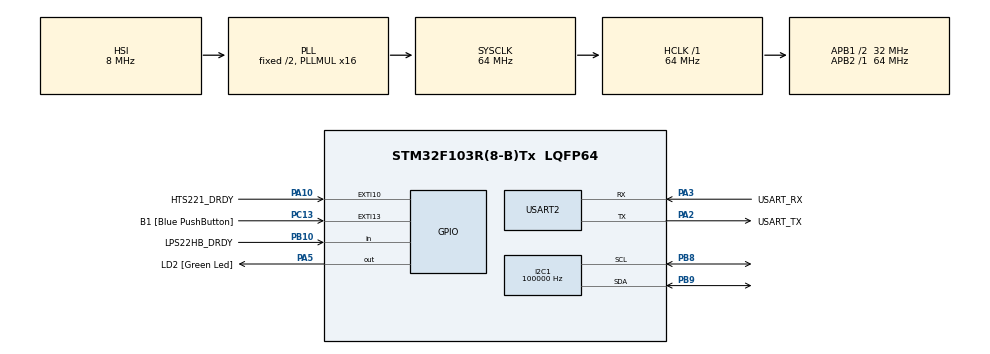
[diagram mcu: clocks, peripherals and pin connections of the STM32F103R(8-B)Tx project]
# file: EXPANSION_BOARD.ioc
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Mcu.Family=STM32F1
PA2.GPIO_PuPd=GPIO_NOPULL
Dma.USART2_TX.0.PeriphDataAlignment=DMA_PDATAALIGN_BYTE
PA10.GPIO_PuPd=GPIO_NOPULL
PA14.GPIO_Label=TCK
PA3.GPIO_PuPd=GPIO_NOPULL
PA2.GPIO_Speed=GPIO_SPEED_FREQ_LOW
VP_RTC_VS_RTC_Activate.Mode=RTC_Enabled
RTC.WeekDay=RTC_WEEKDAY_FRIDAY
PA3.GPIO_Speed=GPIO_SPEED_FREQ_LOW
RCC.SYSCLKSource=RCC_SYSCLKSOURCE_PLLCLK
ProjectManager.StackSize=0x400
PD1-OSC_OUT.Signal=RCC_OSC_OUT
Dma.USART2_TX.0.Priority=DMA_PRIORITY_LOW
I2C1.ClockSpeed=100000
RCC.HCLKFreq_Value=64000000
RCC.APB2TimFreq_Value=64000000
RCC.AHBFreq_Value=64000000
NVIC.EXTI15_10_IRQn=true\:0\:0\:false\:false\:true\:true\:true
RCC.RTCClockSelection=RCC_RTCCLKSOURCE_LSE
RCC.PLLMUL=RCC_PLL_MUL16
RTC.Month=RTC_MONTH_AUGUST
PC14-OSC32_IN.Mode=LSE-External-Oscillator
PA14.Mode=Serial_Wire
PA5.GPIO_PuPd=GPIO_NOPULL
PA10.GPIO_Label=HTS221_DRDY
Dma.USART2_TX.0.MemDataAlignment=DMA_MDATAALIGN_BYTE
Dma.USART2_TX.0.Direction=DMA_MEMORY_TO_PERIPH
Dma.USART2_TX.0.Instance=DMA1_Channel7
Mcu.Package=LQFP64
PB9.Signal=I2C1_SDA
PA10.GPIO_ModeDefaultEXTI=GPIO_MODE_IT_FALLING
USART2.VirtualMode=VM_ASYNC
PC13-TAMPER-RTC.GPIO_PuPd=GPIO_NOPULL
PA2.GPIO_Label=USART_TX
PA10.Signal=GPXTI10
VP_RTC_VS_RTC_Calendar.Mode=RTC_Calendar
Dma.USART2_TX.0.Mode=DMA_NORMAL
RCC.APB1TimFreq_Value=64000000
Dma.Request0=USART2_TX
PA3.Signal=USART2_RX
PA2.GPIO_Mode=GPIO_MODE_AF_PP
PB3.GPIO_Label=SWO
PC15-OSC32_OUT.Mode=LSE-External-Oscillator
PD1-OSC_OUT.Mode=HSE-External-Clock-Source
Dma.USART2_TX.0.MemInc=DMA_MINC_ENABLE
PC13-TAMPER-RTC.Signal=GPXTI13
PD0-OSC_IN.Signal=RCC_OSC_IN
RCC.APB1CLKDivider=RCC_HCLK_DIV2
PC14-OSC32_IN.Signal=RCC_OSC32_IN
NVIC.USART2_IRQn=true\:0\:0\:false\:false\:true\:true\:true
PA13.Signal=SYS_JTMS-SWDIO
PA3.Mode=Asynchronous
ProjectManager.TargetToolchain=STM32CubeIDE
PB10.GPIO_Label=LPS22HB_DRDY
RTC.Year=21
PA3.GPIO_Mode=GPIO_MODE_AF_PP
PB9.Mode=I2C
RTC.Format=RTC_FORMAT_BCD
RCC.USBFreq_Value=64000000
PC15-OSC32_OUT.Signal=RCC_OSC32_OUT
PD0-OSC_IN.Mode=HSE-External-Clock-Source
PB10.Signal=GPIO_Input
PA5.Signal=GPIO_Output
board=NUCLEO-F103RB
PC13-TAMPER-RTC.GPIO_Label=B1 [Blue PushButton]
RCC.APB2Freq_Value=64000000
PA5.GPIO_ModeDefaultOutputPP=GPIO_MODE_OUTPUT_PP
PA13.Mode=Serial_Wire
NVIC.RTC_Alarm_IRQn=true\:0\:0\:false\:false\:true\:true\:true
Mcu.Name=STM32F103R(8-B)Tx
PA13.GPIO_Label=TMS
PA2.Signal=USART2_TX
PB3.Signal=SYS_JTDO-TRACESWO
RCC.SYSCLKFreq_VALUE=64000000
Dma.USART2_TX.0.PeriphInc=DMA_PINC_DISABLE
PA5.GPIO_Label=LD2 [Green Led]
PA14.Signal=SYS_JTCK-SWCLK
ProjectManager.HeapSize=0x200
PA5.GPIO_Speed=GPIO_SPEED_FREQ_LOW
NVIC.PriorityGroup=NVIC_PRIORITYGROUP_4
PB8.Mode=I2C
PA2.Mode=Asynchronous
PB8.Signal=I2C1_SCL
NVIC.DMA1_Channel7_IRQn=true\:0\:0\:false\:false\:true\:false\:true
RCC.APB1Freq_Value=32000000
RTC.Date=27
RTC.OutPut=RTC_OUTPUTSOURCE_ALARM
PA3.GPIO_Label=USART_RX

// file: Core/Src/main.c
/* USER CODE BEGIN Header */
/**
  ******************************************************************************
  * @file           : main.c
  * @brief          : Main program body
  ******************************************************************************
  * @attention
  *
  * <h2><center>&copy; Copyright (c) 2021 STMicroelectronics.
  * All rights reserved.</center></h2>
  *
  * This software component is licensed by ST under BSD 3-Clause license,
  * the "License"; You may not use this file except in compliance with the
  * License. You may obtain a copy of the License at:
  *                        opensource.org/licenses/BSD-3-Clause
  *
  ******************************************************************************
  */
/* USER CODE END Header */
#include "main.h"
#include "dma.h"
#include "i2c.h"
#include "rtc.h"
#include "usart.h"
#include "gpio.h"

/* USER CODE BEGIN Includes */
#include "stdio.h"
#include "HTS221.h"
#include "stdbool.h"
#include "LPS22HB.h"
#include "stdio.h"
/* USER CODE END Includes */

/* USER CODE BEGIN PTD */
hts221_t HTS221;
LPS22HB_t LPS22HB;
/* USER CODE END PTD */

/* USER CODE BEGIN PV */
int16_t temp;
uint16_t humidity;
int16_t pressure;
int16_t tempa;
int16_t message[32];
uint8_t length;

RTC_TimeTypeDef rtc_time;
RTC_DateTypeDef	rtc_date;

volatile uint8_t RTC_ALARM_FLAG;
volatile uint8_t DATA_READY_FLAG;
/* USER CODE END PV */

void SystemClock_Config(void);
/* USER CODE BEGIN PFP */
void RTC_set_alarm(RTC_TimeTypeDef* RTC_time, uint8_t time_interval_minutes);

/* USER CODE END PFP */

int main(void)
{

  /* MCU Configuration--------------------------------------------------------*/

  /* Reset of all peripherals, Initializes the Flash interface and the Systick. */
  HAL_Init();

  /* Configure the system clock */
  SystemClock_Config();

  /* Initialize all configured peripherals */
  MX_GPIO_Init();
  MX_DMA_Init();
  MX_USART2_UART_Init();
  MX_I2C1_Init();
  MX_RTC_Init();
  /* USER CODE BEGIN 2 */
  HTS221_Init(&HTS221, &hi2c1, DEV_ADDR);
  LPS22HB_Init(&LPS22HB, LPS_DEV_ADDR, &hi2c1);

  HTS221_DRDY_Enable(&HTS221, OPEN_DRAIN, ACTIVE_LOW);
  HTS221_set_output_data_rate(&HTS221, Hz_1);
  HTS221_get_data(&HTS221, &temp, &humidity);

  LPS22HB_Set_ODR(&LPS22HB, rate_1Hz);
  LPS22HB_Set_DRDY_Signal(&LPS22HB, DRDY_ActiveLow, DRDY_OpenDrain, 1);
  LPS22HB_GetData(&LPS22HB, &pressure, &tempa);
  HAL_RTC_GetTime(&hrtc, &rtc_time, RTC_FORMAT_BIN);
  RTC_set_alarm(&rtc_time, 1);
  /* USER CODE END 2 */

  /* Infinite loop */
  /* USER CODE BEGIN WHILE */
  while (1)
  {
	  HAL_RTC_GetTime(&hrtc, &rtc_time, RTC_FORMAT_BIN);

	  if(RTC_ALARM_FLAG == 0)
	  {
		  RTC_ALARM_FLAG = 1;

		  if(DATA_READY_FLAG == 1)
		  {
			  HTS221_get_data(&HTS221, &temp, &humidity);
			  DATA_READY_FLAG = 0;
		  }

		  if(HAL_GPIO_ReadPin(LPS22HB_DRDY_GPIO_Port, LPS22HB_DRDY_Pin) == GPIO_PIN_RESET)
		  {
			  LPS22HB_GetData(&LPS22HB, &pressure, &tempa);
		  }

		  length = sprintf(&message, "Pressure:%dhPa\r\nTemperature:%dC\r\nHumidity:%d%%\r\n\r\n", pressure, temp, humidity);
		  HAL_UART_Transmit(&huart2, &message, length, 1000);

	  }
	  //HTS221_get_data_OneHot(&HTS221, &temp, &humidity);
    /* USER CODE END WHILE */

  }
}

void SystemClock_Config(void)
{
  RCC_OscInitTypeDef RCC_OscInitStruct = {0};
  RCC_ClkInitTypeDef RCC_ClkInitStruct = {0};
  RCC_PeriphCLKInitTypeDef PeriphClkInit = {0};

  /** Initializes the RCC Oscillators according to the specified parameters
  * in the RCC_OscInitTypeDef structure.
  */
  RCC_OscInitStruct.OscillatorType = RCC_OSCILLATORTYPE_HSI|RCC_OSCILLATORTYPE_LSE;
  RCC_OscInitStruct.LSEState = RCC_LSE_ON;
  RCC_OscInitStruct.HSIState = RCC_HSI_ON;
  RCC_OscInitStruct.HSICalibrationValue = RCC_HSICALIBRATION_DEFAULT;
  RCC_OscInitStruct.PLL.PLLState = RCC_PLL_ON;
  RCC_OscInitStruct.PLL.PLLSource = RCC_PLLSOURCE_HSI_DIV2;
  RCC_OscInitStruct.PLL.PLLMUL = RCC_PLL_MUL16;
  if (HAL_RCC_OscConfig(&RCC_OscInitStruct) != HAL_OK)
  {
    Error_Handler();
  }
  /** Initializes the CPU, AHB and APB buses clocks
  */
  RCC_ClkInitStruct.ClockType = RCC_CLOCKTYPE_HCLK|RCC_CLOCKTYPE_SYSCLK
                              |RCC_CLOCKTYPE_PCLK1|RCC_CLOCKTYPE_PCLK2;
  RCC_ClkInitStruct.SYSCLKSource = RCC_SYSCLKSOURCE_PLLCLK;
  RCC_ClkInitStruct.AHBCLKDivider = RCC_SYSCLK_DIV1;
  RCC_ClkInitStruct.APB1CLKDivider = RCC_HCLK_DIV2;
  RCC_ClkInitStruct.APB2CLKDivider = RCC_HCLK_DIV1;

  if (HAL_RCC_ClockConfig(&RCC_ClkInitStruct, FLASH_LATENCY_2) != HAL_OK)
  {
    Error_Handler();
  }
  PeriphClkInit.PeriphClockSelection = RCC_PERIPHCLK_RTC;
  PeriphClkInit.RTCClockSelection = RCC_RTCCLKSOURCE_LSE;
  if (HAL_RCCEx_PeriphCLKConfig(&PeriphClkInit) != HAL_OK)
  {
    Error_Handler();
  }
}

/* USER CODE BEGIN 4 */
void HAL_GPIO_EXTI_Callback(uint16_t GPIO_Pin)
{
	if(GPIO_Pin == HTS221_DRDY_Pin)
	{
		DATA_READY_FLAG = 1;
	}

}

void HAL_RTC_AlarmAEventCallback(RTC_HandleTypeDef *hrtc)
{
	RTC_ALARM_FLAG = 0;

	RTC_set_alarm(&rtc_time, 1);
}

void RTC_set_alarm(RTC_TimeTypeDef* RTC_time, uint8_t time_interval_minutes)
{
	RTC_AlarmTypeDef sAlarm = {0};

	sAlarm.Alarm = RTC_ALARM_A;
	sAlarm.AlarmTime.Minutes = RTC_time->Minutes + time_interval_minutes;
	sAlarm.AlarmTime.Seconds = RTC_time->Seconds;
	sAlarm.AlarmTime.Hours = RTC_time->Hours;

	HAL_RTC_SetAlarm_IT(&hrtc, &sAlarm, RTC_FORMAT_BIN);
}

/* USER CODE END 4 */

void Error_Handler(void)
{
  __disable_irq();
  while (1)
  {
  }
}

/************************ (C) COPYRIGHT STMicroelectronics *****END OF FILE****/
